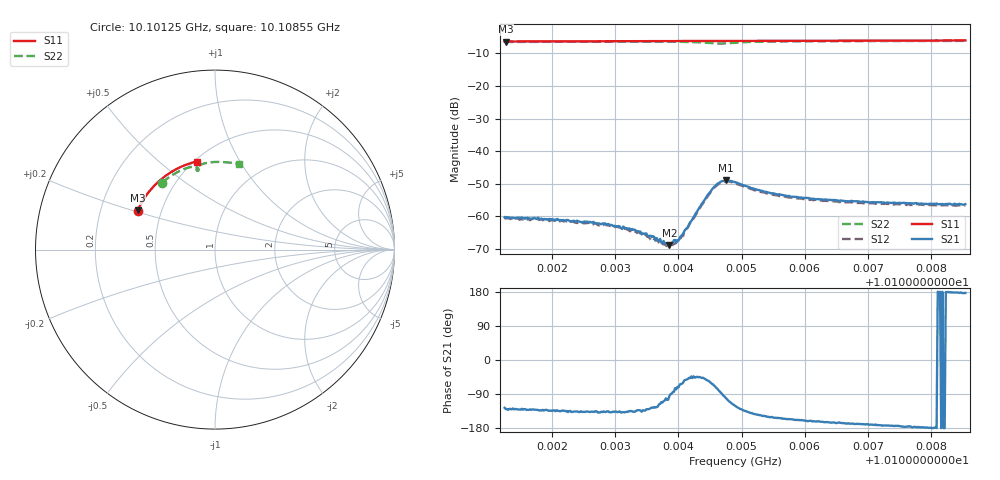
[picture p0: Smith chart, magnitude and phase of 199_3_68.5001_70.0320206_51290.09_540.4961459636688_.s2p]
#  HZ  S  RI  R  50.00
! Rohde & Schwarz Vector Network Analyzer
! Rohde-Schwarz,ZNB20-2Port,1311601062101988,3.16
! Created: UTC 3/20/2024, 4:57:33 PM
! freq[Hz]  re:S11  im:S11  re:S21  im:S21  re:S12  im:S12  re:S22  im:S22
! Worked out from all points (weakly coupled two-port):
!   401 points, 10.10125 GHz to 10.10855 GHz, reference 50 ohm
!   highest |S21| = -49.00 dB at 10.10475 GHz (marker M1); lowest = -68.9 dB at 10.10386 GHz (marker M2)
!   lowest |S11| = -6.3 dB at 10.10126 GHz (marker M3), VSWR 2.87, Z = 18.3 + j10.4 ohm
!   |S11| at or under -10 dB: nowhere
!   |S22| runs from -7.0 to -6.1 dB; largest |S21 - S12| = 0.00035
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1.0101246e10  -0.4312 0.2173  -0.000569 -0.000775  -0.000527 -0.000784  -0.2936 0.3738
1.0101264e10  -0.4306 0.2182  -0.000596 -0.000724  -0.000523 -0.000752  -0.2926 0.3743
1.0102469e10  -0.3959 0.2829  -0.000593 -0.000556  -0.000533 -0.00061  -0.2291 0.4203
1.010287e10  -0.3822 0.3031  -0.000526 -0.000514  -0.000481 -0.000538  -0.206 0.4333
1.0103053e10  -0.3755 0.312  -0.00051 -0.000485  -0.000455 -0.00049  -0.1951 0.4387
1.0103399e10  -0.3626 0.3287  -0.000395 -0.000422  -0.000348 -0.000411  -0.1734 0.4483
1.0103691e10  -0.3512 0.342  -0.000188 -0.000368  -0.000164 -0.000349  -0.154 0.4553
1.0103783e10  -0.3474 0.3462  -0.000105 -0.000354  -0.000108 -0.000363  -0.1476 0.4571
1.0103856e10  -0.3443 0.3493  -3.49e-05 -0.000359  -3.86e-05 -0.000361  -0.1424 0.4584
1.0103947e10  -0.3406 0.3536  0.000117 -0.000419  9.87e-05 -0.000363  -0.1355 0.4601
1.0104002e10  -0.3383 0.3559  0.000128 -0.0004  0.000198 -0.000395  -0.1312 0.4608
1.0104038e10  -0.3368 0.3574  0.000219 -0.000438  0.000255 -0.000379  -0.1285 0.461
1.0104421e10  -0.3202 0.3737  0.00117 -0.00138  0.00124 -0.00125  -0.0964 0.455
1.0104567e10  -0.3136 0.3797  0.00107 -0.00263  0.00125 -0.00243  -0.0912 0.4439
1.0104658e10  -0.3096 0.3831  0.000348 -0.0033  0.000624 -0.00316  -0.0951 0.4388
1.010475e10  -0.3054 0.3869  -0.000629 -0.00349  -0.000296 -0.00339  -0.101 0.4405
1.0104896e10  -0.2988 0.3924  -0.0017 -0.00286  -0.00139 -0.00288  -0.1027 0.4518
1.0105206e10  -0.2842 0.4044  -0.00208 -0.00158  -0.00183 -0.00169  -0.0846 0.4704
1.010548e10  -0.2709 0.4143  -0.00195 -0.00111  -0.00178 -0.00121  -0.0651 0.4781
1.0106118e10  -0.2384 0.4355  -0.00176 -0.000563  -0.00162 -0.000718  -0.0212 0.4865
1.0107341e10  -0.1722 0.4685  -0.00159 -0.000184  -0.00153 -0.000336  0.0591 0.4872
1.0108545e10  -0.1028 0.4905  -0.00153 8.6e-05  -0.00145 -5.66e-05  0.1353 0.4746
